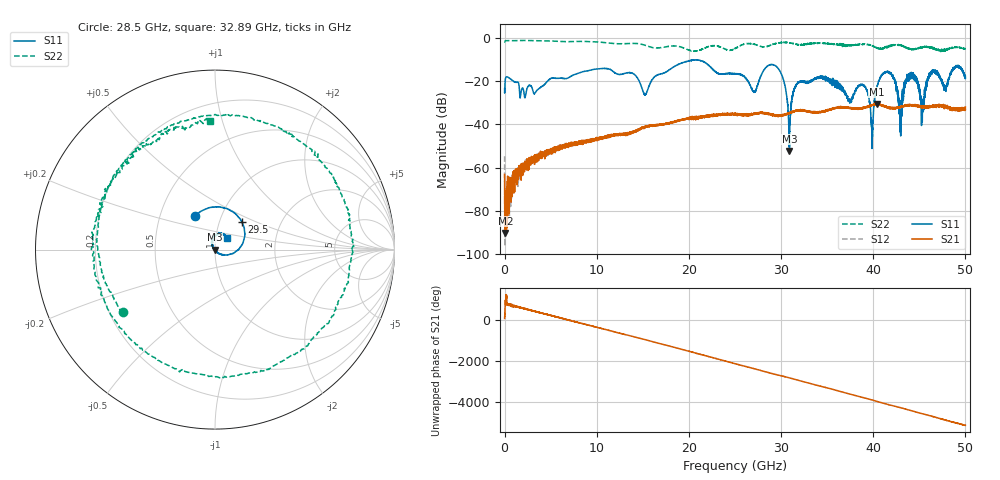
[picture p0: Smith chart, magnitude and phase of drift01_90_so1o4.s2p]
!Created with skrf (http://scikit-rf.org).
# Hz S RI R 50.0
!freq ReS11 ImS11 ReS21 ImS21 ReS12 ImS12 ReS22 ImS22
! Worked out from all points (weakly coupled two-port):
!   10001 points, 300 kHz to 50 GHz, reference 50 ohm
!   highest |S21| = -30.60 dB at 40.38 GHz (marker M1); lowest = -90.2 dB at 80.3 MHz (marker M2)
!   lowest |S11| = -52.3 dB at 30.91 GHz (marker M3), VSWR 1.00, Z = 49.8 - j0.125 ohm
!   |S11| at or under -10 dB: start of sweep to end of sweep
!   |S22| runs from -6.5 to -1.4 dB; largest |S21 - S12| = 0.0046
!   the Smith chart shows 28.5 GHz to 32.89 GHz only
!   S11 on the Smith chart (normalised r, x): 28.5 GHz: 0.75, +0.30; 29.5 GHz: 1.28, +0.41; 32.89 GHz: 1.13, +0.15
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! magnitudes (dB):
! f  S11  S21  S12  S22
! 300 kHz  -23.6  -63.1  -54.7  -2.1
! 80.3 MHz  -19.2  -90.2  -74.4  -1.5
! 8.335 GHz  -15.9  -48.3  -48.1  -1.8
! 15.23 GHz  -26.4  -41.2  -41.4  -3.6
! 16.67 GHz  -17.1  -40.3  -40.3  -4.8
! 25 GHz  -16.7  -35.4  -35.6  -5.1
! 27.1 GHz  -25.2  -35.3  -35.2  -3.1
! 28.5 GHz  -13.2  -35.0  -35.1  -4.1
! 29.5 GHz  -13.4  -36.2  -35.9  -2.7
! 30.91 GHz  -52.3  -34.7  -34.7  -2.6
! 31.61 GHz  -22.1  -33.7  -33.7  -3.1
! 32.89 GHz  -20.7  -34.3  -34.1  -2.9
! 33.34 GHz  -19.6  -34.5  -34.2  -2.7
! 38.91 GHz  -22.0  -32.4  -32.7  -3.0
! 39.86 GHz  -48.4  -31.2  -31.2  -3.7
! 40.38 GHz  -23.1  -30.6  -30.9  -4.8
! 41.67 GHz  -16.1  -32.2  -32.4  -4.3
! 42.91 GHz  -33.1  -32.1  -32.1  -3.5
! 44.11 GHz  -16.6  -31.1  -31.3  -5.4
! 45.31 GHz  -34.8  -32.0  -31.8  -4.4
! 46.42 GHz  -15.2  -31.6  -31.7  -4.7
! 50 GHz  -17.9  -32.0  -33.5  -5.4
